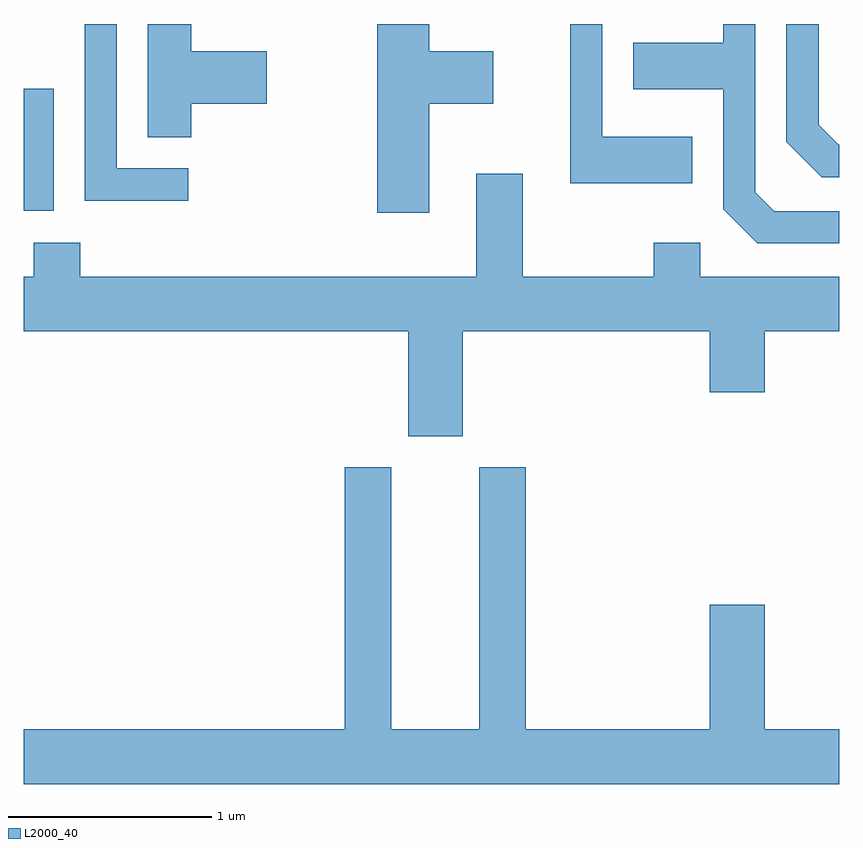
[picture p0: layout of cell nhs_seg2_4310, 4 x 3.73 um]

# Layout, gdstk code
import gdstk
lib = gdstk.Library(unit=1e-6, precision=1e-09)
def R(c, l, rs):  # rectangles x0, y0, x1, y1
    for r in rs: c.add(gdstk.rectangle(r[:2], r[2:], *l))
def P(c, l, *ps):  # polygons
    for p in ps: c.add(gdstk.Polygon(p, *l))
L2000_40 = (2000, 40)

nhs_seg2_4310 = lib.new_cell('nhs_seg2_4310')
R(nhs_seg2_4310, L2000_40, [(311.611,1068.886,311.759,1069.484)])
P(nhs_seg2_4310, L2000_40, [(313.599,1069.411),(313.914,1069.411),(313.914,1069.669),(313.599,1069.669),(313.599,1069.802),(313.346,1069.802),(313.346,1068.876),(313.599,1068.876)],
  [(312.418,1069.094),(312.069,1069.094),(312.069,1069.802),(311.911,1069.802),(311.911,1068.936),(312.418,1068.936)],
  [(315.611,1069.209),(315.607,1069.209),(315.509,1069.307),(315.509,1069.802),(315.351,1069.802),(315.351,1069.224),(315.524,1069.051),(315.611,1069.051)],
  [(312.434,1069.411),(312.804,1069.411),(312.804,1069.669),(312.434,1069.669),(312.434,1069.802),(312.221,1069.802),(312.221,1069.246),(312.434,1069.246)],
  [(315.611,1068.884),(315.292,1068.884),(315.199,1068.977),(315.199,1069.802),(315.041,1069.802),(315.041,1069.709),(314.601,1069.709),(314.601,1069.481),(315.041,1069.481),(315.041,1068.894),(315.209,1068.726),(315.611,1068.726)],
  [(314.889,1069.249),(314.449,1069.249),(314.449,1069.802),(314.291,1069.802),(314.291,1069.021),(314.889,1069.021)],
  [(313.764,1068.296),(314.976,1068.296),(314.976,1067.996),(315.244,1067.996),(315.244,1068.296),(315.611,1068.296),(315.611,1068.564),(314.929,1068.564),(314.929,1068.729),(314.701,1068.729),(314.701,1068.564),(314.059,1068.564),(314.059,1069.069),(313.831,1069.069),(313.831,1068.564),(311.889,1068.564),(311.889,1068.729),(311.661,1068.729),(311.661,1068.564),(311.611,1068.564),(311.611,1068.296),(313.496,1068.296),(313.496,1067.781),(313.764,1067.781)],
  [(315.611,1066.344),(315.244,1066.344),(315.244,1066.954),(314.976,1066.954),(314.976,1066.344),(314.074,1066.344),(314.074,1067.629),(313.846,1067.629),(313.846,1066.344),(313.414,1066.344),(313.414,1067.629),(313.186,1067.629),(313.186,1066.344),(311.611,1066.344),(311.611,1066.076),(315.611,1066.076)])

lib.write_gds('nhs_seg2_4310.gds')
